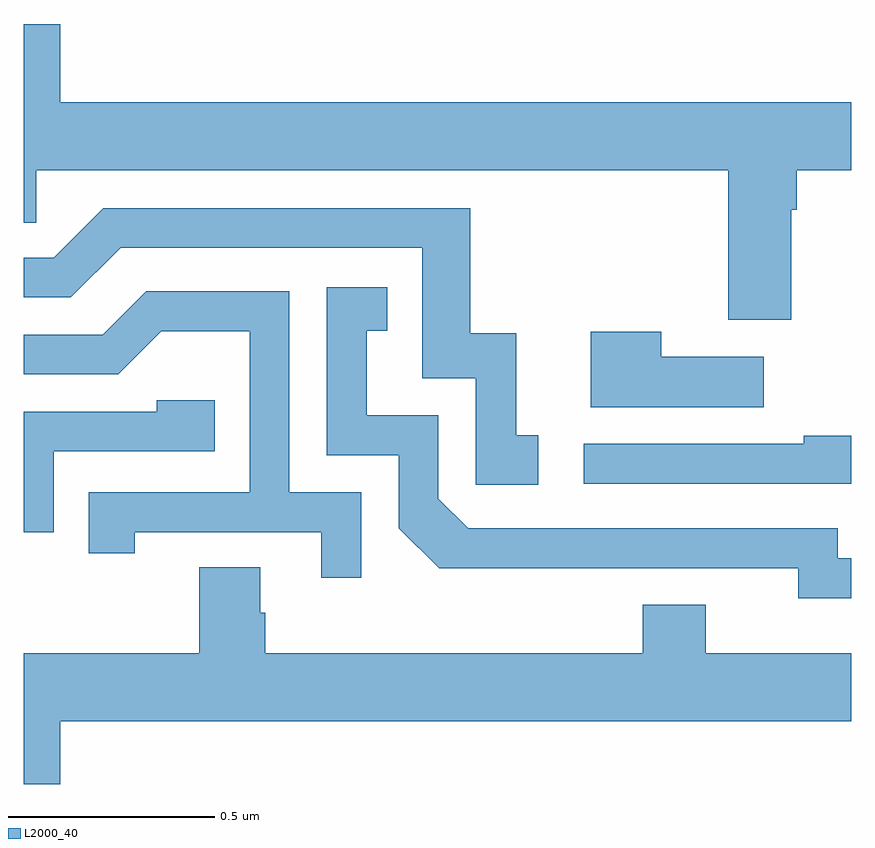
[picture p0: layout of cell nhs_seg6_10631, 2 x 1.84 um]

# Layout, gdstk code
import gdstk
lib = gdstk.Library(unit=1e-6, precision=1e-09)
def P(c, l, *ps):  # polygons
    for p in ps: c.add(gdstk.Polygon(p, *l))
L2000_40 = (2000, 40)

nhs_seg6_10631 = lib.new_cell('nhs_seg6_10631')
P(nhs_seg6_10631, L2000_40, [(250.855,965.888),(250.868,965.888),(250.868,965.984),(251,965.984),(251,966.148),(249.088,966.148),(249.088,966.337),(249,966.337),(249,965.857),(249.03,965.857),(249.03,965.984),(250.703,965.984),(250.703,965.622),(250.855,965.622)],
  [(250.243,965.343),(250.19,965.343),(250.19,965.59),(250.079,965.59),(250.079,965.892),(249.192,965.892),(249.072,965.772),(249,965.772),(249,965.676),(249.114,965.676),(249.234,965.796),(249.963,965.796),(249.963,965.481),(250.092,965.481),(250.092,965.223),(250.243,965.223)],
  [(251,965.046),(250.968,965.046),(250.968,965.118),(250.074,965.118),(250.002,965.19),(250.002,965.391),(249.829,965.391),(249.829,965.595),(249.878,965.595),(249.878,965.701),(249.732,965.701),(249.732,965.295),(249.906,965.295),(249.906,965.118),(250.004,965.021),(250.412,965.021),(250.412,965.022),(250.872,965.022),(250.872,964.949),(251,964.949)],
  [(249.816,965.205),(249.642,965.205),(249.642,965.691),(249.296,965.691),(249.191,965.586),(249,965.586),(249,965.49),(249.228,965.49),(249.332,965.594),(249.546,965.594),(249.546,965.205),(249.157,965.205),(249.157,965.058),(249.268,965.058),(249.268,965.109),(249.719,965.109),(249.719,964.998),(249.816,964.998)],
  [(250.789,965.533),(250.541,965.533),(250.541,965.593),(250.37,965.593),(250.37,965.411),(250.789,965.411)],
  [(249.072,965.304),(249.461,965.304),(249.461,965.427),(249.321,965.427),(249.321,965.4),(249,965.4),(249,965.109),(249.072,965.109)],
  [(251,965.342),(250.885,965.342),(250.885,965.322),(250.353,965.322),(250.353,965.226),(251,965.226)],
  [(249.088,964.652),(251,964.652),(251,964.816),(250.648,964.816),(250.648,964.933),(250.496,964.933),(250.496,964.816),(249.584,964.816),(249.584,964.914),(249.571,964.914),(249.571,965.024),(249.424,965.024),(249.424,964.816),(249,964.816),(249,964.5),(249.088,964.5)])

lib.write_gds('nhs_seg6_10631.gds')
